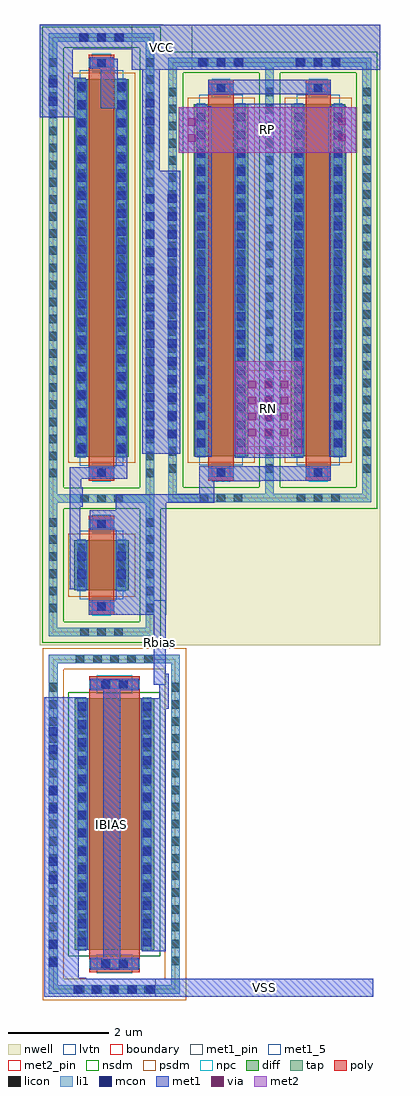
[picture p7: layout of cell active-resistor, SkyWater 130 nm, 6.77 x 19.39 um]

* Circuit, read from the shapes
.subckt active-resistor IBIAS RN RP Rbias VCC VSS
XM1 Rbias IBIAS VSS VSS sky130_fd_pr__nfet_01v8 w=5 l=1
XM2 Rbias Rbias n1 VCC sky130_fd_pr__pfet_01v8_lvt w=1 l=0.5
XM3 n1 n1 VCC VCC sky130_fd_pr__pfet_01v8_lvt w=7.5 l=0.5
XM4 RN Rbias RP VCC sky130_fd_pr__pfet_01v8_lvt w=7 l=0.5 m=2
.ends

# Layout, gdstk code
import gdstk
lib = gdstk.Library(unit=1e-6, precision=1e-09)
def R(c, l, rs):  # rectangles x0, y0, x1, y1
    for r in rs: c.add(gdstk.rectangle(r[:2], r[2:], *l))
def A(c, l, x, y, w, h, nx, ny, dx, dy):  # array of equal rectangles
    R(c, l, [(x+i*dx, y+j*dy, x+i*dx+w, y+j*dy+h) for i in range(nx) for j in range(ny)])
nwell = (64, 20)
diff = (65, 20)
tap = (65, 44)
poly = (66, 20)
licon = (66, 44)
li1 = (67, 20)
mcon = (67, 44)
met1_5 = (68, 5)
met1_pin = (68, 16)
met1 = (68, 20)
via = (68, 44)
met2_pin = (69, 16)
met2 = (69, 20)
nsdm = (93, 44)
psdm = (94, 20)
npc = (95, 20)
lvtn = (125, 44)
boundary = (235, 4)

sky130_fd_pr__pfet_01v8_ = lib.new_cell('sky130_fd_pr__pfet_01v8_lvt_NZC8UH')
R(sky130_fd_pr__pfet_01v8_, nwell, [(-1.23,-4.845,1.23,4.845)])
R(sky130_fd_pr__pfet_01v8_, diff, [(-0.54,-3.75,0.54,3.75)])
R(sky130_fd_pr__pfet_01v8_, tap, [(-1.05,-4.665,1.05,-4.495), (-1.05,-4.495,-0.88,4.495), (0.88,-4.495,1.05,4.495), (-1.05,4.495,1.05,4.665)])
R(sky130_fd_pr__pfet_01v8_, poly, [(-0.25,-4.235,0.25,4.235)])
A(sky130_fd_pr__pfet_01v8_, licon, -0.425, -4.665, 0.17, 0.17, 3, 2, 0.34, 9.16)
A(sky130_fd_pr__pfet_01v8_, licon, -1.05, -4.165, 0.17, 0.17, 1, 25, 0, 0.34)
A(sky130_fd_pr__pfet_01v8_, licon, 0.88, -4.165, 0.17, 0.17, 1, 25, 0, 0.34)
A(sky130_fd_pr__pfet_01v8_, licon, -0.48, -3.655, 0.17, 0.17, 1, 22, 0, 0.34)
A(sky130_fd_pr__pfet_01v8_, licon, 0.31, -3.655, 0.17, 0.17, 1, 22, 0, 0.34)
R(sky130_fd_pr__pfet_01v8_, licon, [(-0.085,-4.155,0.085,-3.985), (-0.085,3.985,0.085,4.155)])
R(sky130_fd_pr__pfet_01v8_, li1, [(-1.05,-4.665,1.05,-4.495), (-1.05,-4.495,-0.88,4.495), (0.88,-4.495,1.05,4.495), (-0.25,-4.155,0.25,-3.985), (-0.48,-3.77,-0.31,3.77), (0.31,-3.77,0.48,3.77), (-0.25,3.985,0.25,4.155), (-1.05,4.495,1.05,4.665)])
A(sky130_fd_pr__pfet_01v8_, mcon, -0.48, -3.685, 0.17, 0.17, 1, 21, 0, 0.36)
A(sky130_fd_pr__pfet_01v8_, mcon, 0.31, -3.685, 0.17, 0.17, 1, 21, 0, 0.36)
R(sky130_fd_pr__pfet_01v8_, mcon, [(-0.085,-4.155,0.085,-3.985), (-0.085,3.985,0.085,4.155)])
R(sky130_fd_pr__pfet_01v8_, met1, [(-0.23,-4.185,0.23,-3.955), (-0.51,-3.75,-0.28,3.75), (0.28,-3.75,0.51,3.75), (-0.23,3.955,0.23,4.185)])
R(sky130_fd_pr__pfet_01v8_, nsdm, [(-1.175,-4.79,1.175,-4.37), (-1.175,-4.37,-0.755,4.37), (0.755,-4.37,1.175,4.37), (-1.175,4.37,1.175,4.79)])
R(sky130_fd_pr__pfet_01v8_, psdm, [(-0.665,-3.875,0.665,3.875)])
R(sky130_fd_pr__pfet_01v8_, npc, [(-0.185,-4.255,0.185,-3.885), (-0.185,3.885,0.185,4.255)])
R(sky130_fd_pr__pfet_01v8_, lvtn, [(-0.43,-3.93,0.43,3.93)])
R(sky130_fd_pr__pfet_01v8_, boundary, [(-0.965,-4.58,0.965,4.58)])

c_sky130_fd_pr__pfet_01v8_ = lib.new_cell('sky130_fd_pr__pfet_01v8_lvt_EG9S6L')
R(c_sky130_fd_pr__pfet_01v8_, nwell, [(-1.23,-4.595,1.23,4.595)])
R(c_sky130_fd_pr__pfet_01v8_, diff, [(-0.54,-3.5,0.54,3.5)])
R(c_sky130_fd_pr__pfet_01v8_, tap, [(-1.05,-4.415,1.05,-4.245), (-1.05,-4.245,-0.88,4.245), (0.88,-4.245,1.05,4.245), (-1.05,4.245,1.05,4.415)])
R(c_sky130_fd_pr__pfet_01v8_, poly, [(-0.25,-3.985,0.25,3.985)])
A(c_sky130_fd_pr__pfet_01v8_, licon, -0.425, -4.415, 0.17, 0.17, 3, 2, 0.34, 8.66)
A(c_sky130_fd_pr__pfet_01v8_, licon, -1.05, -3.825, 0.17, 0.17, 1, 23, 0, 0.34)
A(c_sky130_fd_pr__pfet_01v8_, licon, 0.88, -3.825, 0.17, 0.17, 1, 23, 0, 0.34)
A(c_sky130_fd_pr__pfet_01v8_, licon, -0.48, -3.315, 0.17, 0.17, 1, 20, 0, 0.34)
A(c_sky130_fd_pr__pfet_01v8_, licon, 0.31, -3.315, 0.17, 0.17, 1, 20, 0, 0.34)
R(c_sky130_fd_pr__pfet_01v8_, licon, [(-0.085,-3.905,0.085,-3.735), (-0.085,3.735,0.085,3.905)])
R(c_sky130_fd_pr__pfet_01v8_, li1, [(-1.05,-4.415,1.05,-4.245), (-1.05,-4.245,-0.88,4.245), (0.88,-4.245,1.05,4.245), (-0.25,-3.905,0.25,-3.735), (-0.48,-3.52,-0.31,3.52), (0.31,-3.52,0.48,3.52), (-0.25,3.735,0.25,3.905), (-1.05,4.245,1.05,4.415)])
A(c_sky130_fd_pr__pfet_01v8_, mcon, -0.48, -3.325, 0.17, 0.17, 1, 19, 0, 0.36)
A(c_sky130_fd_pr__pfet_01v8_, mcon, 0.31, -3.325, 0.17, 0.17, 1, 19, 0, 0.36)
R(c_sky130_fd_pr__pfet_01v8_, mcon, [(-0.085,-3.905,0.085,-3.735), (-0.085,3.735,0.085,3.905)])
R(c_sky130_fd_pr__pfet_01v8_, met1, [(-0.23,-3.935,0.23,-3.705), (-0.51,-3.5,-0.28,3.5), (0.28,-3.5,0.51,3.5), (-0.23,3.705,0.23,3.935)])
R(c_sky130_fd_pr__pfet_01v8_, nsdm, [(-1.175,-4.54,1.175,-4.12), (-1.175,-4.12,-0.755,4.12), (0.755,-4.12,1.175,4.12), (-1.175,4.12,1.175,4.54)])
R(c_sky130_fd_pr__pfet_01v8_, psdm, [(-0.665,-3.625,0.665,3.625)])
R(c_sky130_fd_pr__pfet_01v8_, npc, [(-0.185,-4.005,0.185,-3.635), (-0.185,3.635,0.185,4.005)])
R(c_sky130_fd_pr__pfet_01v8_, lvtn, [(-0.43,-3.68,0.43,3.68)])
R(c_sky130_fd_pr__pfet_01v8_, boundary, [(-0.965,-4.33,0.965,4.33)])

c_sky130_fd_pr__pfet_01v8__ = lib.new_cell('sky130_fd_pr__pfet_01v8_lvt_E4WS6L')
R(c_sky130_fd_pr__pfet_01v8__, nwell, [(-1.23,-4.595,1.23,4.595)])
R(c_sky130_fd_pr__pfet_01v8__, diff, [(-0.54,-3.5,0.54,3.5)])
R(c_sky130_fd_pr__pfet_01v8__, tap, [(-1.05,-4.415,1.05,-4.245), (-1.05,-4.245,-0.88,4.245), (0.88,-4.245,1.05,4.245), (-1.05,4.245,1.05,4.415)])
R(c_sky130_fd_pr__pfet_01v8__, poly, [(-0.25,-3.985,0.25,3.985)])
A(c_sky130_fd_pr__pfet_01v8__, licon, -0.425, -4.415, 0.17, 0.17, 3, 2, 0.34, 8.66)
A(c_sky130_fd_pr__pfet_01v8__, licon, -1.05, -3.825, 0.17, 0.17, 1, 23, 0, 0.34)
A(c_sky130_fd_pr__pfet_01v8__, licon, 0.88, -3.825, 0.17, 0.17, 1, 23, 0, 0.34)
A(c_sky130_fd_pr__pfet_01v8__, licon, -0.48, -3.315, 0.17, 0.17, 1, 20, 0, 0.34)
A(c_sky130_fd_pr__pfet_01v8__, licon, 0.31, -3.315, 0.17, 0.17, 1, 20, 0, 0.34)
R(c_sky130_fd_pr__pfet_01v8__, licon, [(-0.085,-3.905,0.085,-3.735), (-0.085,3.735,0.085,3.905)])
R(c_sky130_fd_pr__pfet_01v8__, li1, [(-1.05,-4.415,1.05,-4.245), (-1.05,-4.245,-0.88,4.245), (0.88,-4.245,1.05,4.245), (-0.25,-3.905,0.25,-3.735), (-0.48,-3.52,-0.31,3.52), (0.31,-3.52,0.48,3.52), (-0.25,3.735,0.25,3.905), (-1.05,4.245,1.05,4.415)])
A(c_sky130_fd_pr__pfet_01v8__, mcon, -0.48, -3.325, 0.17, 0.17, 1, 19, 0, 0.36)
A(c_sky130_fd_pr__pfet_01v8__, mcon, 0.31, -3.325, 0.17, 0.17, 1, 19, 0, 0.36)
R(c_sky130_fd_pr__pfet_01v8__, mcon, [(-0.085,-3.905,0.085,-3.735), (-0.085,3.735,0.085,3.905)])
R(c_sky130_fd_pr__pfet_01v8__, met1, [(-0.23,-3.935,0.23,-3.705), (-0.51,-3.5,-0.28,3.5), (0.28,-3.5,0.51,3.5), (-0.23,3.705,0.23,3.935)])
R(c_sky130_fd_pr__pfet_01v8__, nsdm, [(-1.175,-4.54,1.175,-4.12), (-1.175,-4.12,-0.755,4.12), (0.755,-4.12,1.175,4.12), (-1.175,4.12,1.175,4.54)])
R(c_sky130_fd_pr__pfet_01v8__, psdm, [(-0.665,-3.625,0.665,3.625)])
R(c_sky130_fd_pr__pfet_01v8__, npc, [(-0.185,-4.005,0.185,-3.635), (-0.185,3.635,0.185,4.005)])
R(c_sky130_fd_pr__pfet_01v8__, lvtn, [(-0.43,-3.68,0.43,3.68)])
R(c_sky130_fd_pr__pfet_01v8__, boundary, [(-0.965,-4.33,0.965,4.33)])

c_sky130_fd_pr__pfet_01v8___ = lib.new_cell('sky130_fd_pr__pfet_01v8_lvt_B5E2Q5')
R(c_sky130_fd_pr__pfet_01v8___, nwell, [(-1.23,-1.595,1.23,1.595)])
R(c_sky130_fd_pr__pfet_01v8___, diff, [(-0.54,-0.5,0.54,0.5)])
R(c_sky130_fd_pr__pfet_01v8___, tap, [(-1.05,-1.415,1.05,-1.245), (-1.05,-1.245,-0.88,1.245), (0.88,-1.245,1.05,1.245), (-1.05,1.245,1.05,1.415)])
R(c_sky130_fd_pr__pfet_01v8___, poly, [(-0.25,-0.985,0.25,0.985)])
A(c_sky130_fd_pr__pfet_01v8___, licon, -0.425, -1.415, 0.17, 0.17, 3, 2, 0.34, 2.66)
A(c_sky130_fd_pr__pfet_01v8___, licon, -1.05, -0.935, 0.17, 0.17, 1, 6, 0, 0.34)
A(c_sky130_fd_pr__pfet_01v8___, licon, 0.88, -0.935, 0.17, 0.17, 1, 6, 0, 0.34)
A(c_sky130_fd_pr__pfet_01v8___, licon, -0.48, -0.425, 0.17, 0.17, 1, 3, 0, 0.34)
A(c_sky130_fd_pr__pfet_01v8___, licon, 0.31, -0.425, 0.17, 0.17, 1, 3, 0, 0.34)
R(c_sky130_fd_pr__pfet_01v8___, licon, [(-0.085,-0.905,0.085,-0.735), (-0.085,0.735,0.085,0.905)])
R(c_sky130_fd_pr__pfet_01v8___, li1, [(-1.05,-1.415,1.05,-1.245), (-1.05,-1.245,-0.88,1.245), (0.88,-1.245,1.05,1.245), (-0.25,-0.905,0.25,-0.735), (-0.48,-0.52,-0.31,0.52), (0.31,-0.52,0.48,0.52), (-0.25,0.735,0.25,0.905), (-1.05,1.245,1.05,1.415)])
R(c_sky130_fd_pr__pfet_01v8___, mcon, [(-0.085,-0.905,0.085,-0.735), (-0.48,-0.265,-0.31,-0.095), (0.31,-0.265,0.48,-0.095), (-0.48,0.095,-0.31,0.265), (0.31,0.095,0.48,0.265), (-0.085,0.735,0.085,0.905)])
R(c_sky130_fd_pr__pfet_01v8___, met1, [(-0.23,-0.935,0.23,-0.705), (-0.51,-0.5,-0.28,0.5), (0.28,-0.5,0.51,0.5), (-0.23,0.705,0.23,0.935)])
R(c_sky130_fd_pr__pfet_01v8___, nsdm, [(-1.175,-1.54,1.175,-1.12), (-1.175,-1.12,-0.755,1.12), (0.755,-1.12,1.175,1.12), (-1.175,1.12,1.175,1.54)])
R(c_sky130_fd_pr__pfet_01v8___, psdm, [(-0.665,-0.625,0.665,0.625)])
R(c_sky130_fd_pr__pfet_01v8___, npc, [(-0.185,-1.005,0.185,-0.635), (-0.185,0.635,0.185,1.005)])
R(c_sky130_fd_pr__pfet_01v8___, lvtn, [(-0.43,-0.68,0.43,0.68)])
R(c_sky130_fd_pr__pfet_01v8___, boundary, [(-0.965,-1.33,0.965,1.33)])

sky130_fd_pr__nfet_01v8_ = lib.new_cell('sky130_fd_pr__nfet_01v8_VNG24X')
R(sky130_fd_pr__nfet_01v8_, diff, [(-0.79,-2.5,0.79,2.5)])
R(sky130_fd_pr__nfet_01v8_, tap, [(-1.3,-3.37,1.3,-3.2), (-1.3,-3.2,-1.13,3.2), (1.13,-3.2,1.3,3.2), (-1.3,3.2,1.3,3.37)])
R(sky130_fd_pr__nfet_01v8_, poly, [(-0.5,-2.94,0.5,2.94)])
A(sky130_fd_pr__nfet_01v8_, licon, -0.765, -3.37, 0.17, 0.17, 5, 2, 0.34, 6.57)
A(sky130_fd_pr__nfet_01v8_, licon, -1.3, -2.805, 0.17, 0.17, 1, 17, 0, 0.34)
A(sky130_fd_pr__nfet_01v8_, licon, 1.13, -2.805, 0.17, 0.17, 1, 17, 0, 0.34)
A(sky130_fd_pr__nfet_01v8_, licon, -0.73, -2.295, 0.17, 0.17, 1, 14, 0, 0.34)
A(sky130_fd_pr__nfet_01v8_, licon, 0.56, -2.295, 0.17, 0.17, 1, 14, 0, 0.34)
R(sky130_fd_pr__nfet_01v8_, licon, [(-0.255,-2.86,-0.085,-2.69), (0.085,-2.86,0.255,-2.69), (-0.255,2.69,-0.085,2.86), (0.085,2.69,0.255,2.86)])
R(sky130_fd_pr__nfet_01v8_, li1, [(-1.3,-3.37,1.3,-3.2), (-1.3,-3.2,-1.13,3.2), (1.13,-3.2,1.3,3.2), (-0.5,-2.86,0.5,-2.69), (-0.73,-2.52,-0.56,2.52), (0.56,-2.52,0.73,2.52), (-0.5,2.69,0.5,2.86), (-1.3,3.2,1.3,3.37)])
A(sky130_fd_pr__nfet_01v8_, mcon, -0.73, -2.425, 0.17, 0.17, 1, 14, 0, 0.36)
A(sky130_fd_pr__nfet_01v8_, mcon, 0.56, -2.425, 0.17, 0.17, 1, 14, 0, 0.36)
R(sky130_fd_pr__nfet_01v8_, mcon, [(-0.265,-2.86,-0.095,-2.69), (0.095,-2.86,0.265,-2.69), (-0.265,2.69,-0.095,2.86), (0.095,2.69,0.265,2.86)])
R(sky130_fd_pr__nfet_01v8_, met1, [(-0.48,-2.89,0.48,-2.66), (-0.76,-2.5,-0.53,2.5), (0.53,-2.5,0.76,2.5), (-0.48,2.66,0.48,2.89)])
R(sky130_fd_pr__nfet_01v8_, nsdm, [(-0.915,-2.625,0.915,2.625)])
R(sky130_fd_pr__nfet_01v8_, psdm, [(-1.425,-3.495,1.425,-3.075), (-1.425,-3.075,-1.005,3.075), (1.005,-3.075,1.425,3.075), (-1.425,3.075,1.425,3.495)])
R(sky130_fd_pr__nfet_01v8_, npc, [(-0.355,-2.96,0.355,-2.59), (-0.355,2.59,0.355,2.96)])
R(sky130_fd_pr__nfet_01v8_, boundary, [(-1.21,-3.28,1.21,3.28)])

active_resistor = lib.new_cell('active-resistor')
R(active_resistor, nwell, [(17.25,-1.82,24.02,0.305), (17.25,0.305,18.17,0.64), (18.98,0.305,24.02,0.865), (17.25,0.64,18.06,0.94), (18.17,0.865,24.02,0.94), (17.25,0.94,24.02,1.32), (17.25,1.32,18.08,1.405), (19.03,1.32,24.02,1.405), (17.25,1.405,17.7,1.795), (19.07,1.405,24.02,1.44), (20.42,1.44,24.02,1.74), (19.07,1.74,24.02,1.795), (17.25,1.795,18.08,1.8), (19.03,1.795,24.02,1.8), (17.25,1.8,17.985,2.055), (19.1,1.8,24.02,2.055), (17.25,2.055,18.08,2.09), (19.03,2.055,24.02,2.09), (17.25,2.09,24.02,8.77), (17.25,8.77,17.39,9.67), (17.62,8.77,24.02,9.59), (17.62,9.59,17.91,9.67), (19.08,9.59,24.02,10.03), (17.25,9.67,17.91,10.03), (17.25,10.03,24.02,10.52)])
R(active_resistor, li1, [(17.91,-8.74,19.55,-8.57), (17.43,-8.26,17.6,-7.62), (17.43,-6.61,17.6,-5.97), (17.43,-5.21,17.6,-4.57), (17.43,-4.03,17.6,-3.39), (19.36,2.25,19.53,7.2), (19.8,2.25,19.97,7.2), (19.36,8.03,19.53,9.17), (17.43,8.89,17.6,9.46), (20.28,9.68,21.42,9.85), (22.21,9.68,23.35,9.85), (17.91,10.18,19.05,10.35)])
A(active_resistor, mcon, 17.925, -8.74, 0.17, 0.17, 5, 1, 0.36, 0)
A(active_resistor, mcon, 19.36, 2.3, 0.17, 0.17, 1, 14, 0, 0.36)
A(active_resistor, mcon, 19.8, 2.3, 0.17, 0.17, 1, 14, 0, 0.36)
A(active_resistor, mcon, 19.36, 8.155, 0.17, 0.17, 1, 3, 0, 0.36)
A(active_resistor, mcon, 20.405, 9.68, 0.17, 0.17, 3, 1, 0.36, 0)
A(active_resistor, mcon, 22.335, 9.68, 0.17, 0.17, 3, 1, 0.36, 0)
A(active_resistor, mcon, 18.035, 10.18, 0.17, 0.17, 3, 1, 0.36, 0)
R(active_resistor, mcon, [(17.43,-8.205,17.6,-8.035), (17.43,-7.845,17.6,-7.675), (17.43,-6.555,17.6,-6.385), (17.43,-6.195,17.6,-6.025), (17.43,-5.155,17.6,-4.985), (17.43,-4.795,17.6,-4.625), (17.43,-3.975,17.6,-3.805), (17.43,-3.615,17.6,-3.445), (17.43,8.91,17.6,9.08), (17.43,9.27,17.6,9.44)])
R(active_resistor, met1_5, [(19.52,-2.6,19.76,-0.92)])
R(active_resistor, met1_pin, [(19.55,-8.8,23.88,-8.44), (18.51,-8.25,18.85,-2.5), (19.08,9.62,20.28,10.52)])
R(active_resistor, met1, [(17.34,-8.8,23.88,-8.44), (17.34,-8.44,18.18,-8.42), (17.34,-8.42,18.03,-7.87), (18.51,-8.25,18.85,-2.5), (19.28,-7.9,19.76,-3.08), (17.34,-7.87,18.18,-2.85), (19.28,-3.08,19.82,-2.94), (19.28,-2.94,19.37,-2.88), (19.49,-2.94,19.82,-2.865), (19.63,-2.865,19.82,-2.6), (19.52,-2.6,19.82,-2.38), (19.52,-2.38,19.76,-1.21), (18.23,-1.21,19.77,-0.92), (18.76,-0.92,19.77,0.475), (17.85,-0.7,18.06,0.94), (18.25,0.475,19.77,0.865), (18.76,0.865,19.77,1.02), (17.85,0.94,18.11,1.32), (18.76,1.02,20.72,1.19), (20.42,1.19,20.72,1.44), (17.85,1.32,18.08,1.495), (20.42,1.44,21.64,1.45), (20.42,1.45,23.03,1.74), (17.85,1.495,18.99,1.65), (17.85,1.65,18.655,1.71), (18.695,1.65,18.99,1.71), (17.85,1.71,18.99,1.725), (18.565,1.725,18.99,1.73), (18.76,1.73,18.99,1.985), (21.13,1.91,22.49,8.95), (20.33,1.93,20.67,7.97), (23,1.93,23.34,7.97), (19.29,1.99,20.04,7.61), (18.77,2.09,18.98,8.86), (19.29,7.61,19.64,9.62), (20.01,7.97,20.67,8.88), (22.98,7.97,23.54,8.88), (17.25,8.68,18.17,9.46), (18.46,8.86,18.98,9.43), (20.33,8.88,20.67,8.9), (23,8.88,23.34,8.9), (20.6,9.13,23.03,9.42), (18.46,9.43,18.8,9.84), (17.25,9.46,17.91,10.03), (19.08,9.62,24.02,10.03), (17.25,10.03,24.02,10.52)])
A(active_resistor, via, 21.4, 2.335, 0.15, 0.15, 3, 4, 0.32, 0.32)
R(active_resistor, via, [(20.205,8.19,20.355,8.34), (23.185,8.2,23.335,8.35), (20.205,8.51,20.355,8.66), (23.185,8.52,23.335,8.67)])
R(active_resistor, met2_pin, [(21.34,2.13,22.25,3.65), (20.49,7.97,23.05,8.88)])
R(active_resistor, met2, [(21.14,1.99,22.46,3.83), (20.01,7.97,23.54,8.88)])
R(active_resistor, nsdm, [(19.655,0.9,19.68,9.98)])
active_resistor.add(gdstk.Reference(sky130_fd_pr__pfet_01v8_, (18.48,5.685)))
active_resistor.add(gdstk.Reference(c_sky130_fd_pr__pfet_01v8_, (20.855,5.44)))
active_resistor.add(gdstk.Reference(c_sky130_fd_pr__pfet_01v8__, (22.785,5.44)))
active_resistor.add(gdstk.Reference(c_sky130_fd_pr__pfet_01v8___, (18.48,-0.225)))
active_resistor.add(gdstk.Reference(sky130_fd_pr__nfet_01v8_, (18.735,-5.37)))
active_resistor.add(gdstk.Label('Rbias', (19.64,-1.76), layer=68, texttype=5))
active_resistor.add(gdstk.Label('IBIAS', (18.68,-5.375), layer=68, texttype=5))
active_resistor.add(gdstk.Label('VCC', (19.68,10.07), layer=68, texttype=5))
active_resistor.add(gdstk.Label('VSS', (21.715,-8.62), layer=68, texttype=5))
active_resistor.add(gdstk.Label('RP', (21.77,8.425), layer=69, texttype=5))
active_resistor.add(gdstk.Label('RN', (21.795,2.89), layer=69, texttype=5))

lib.write_gds('active-resistor.gds')
